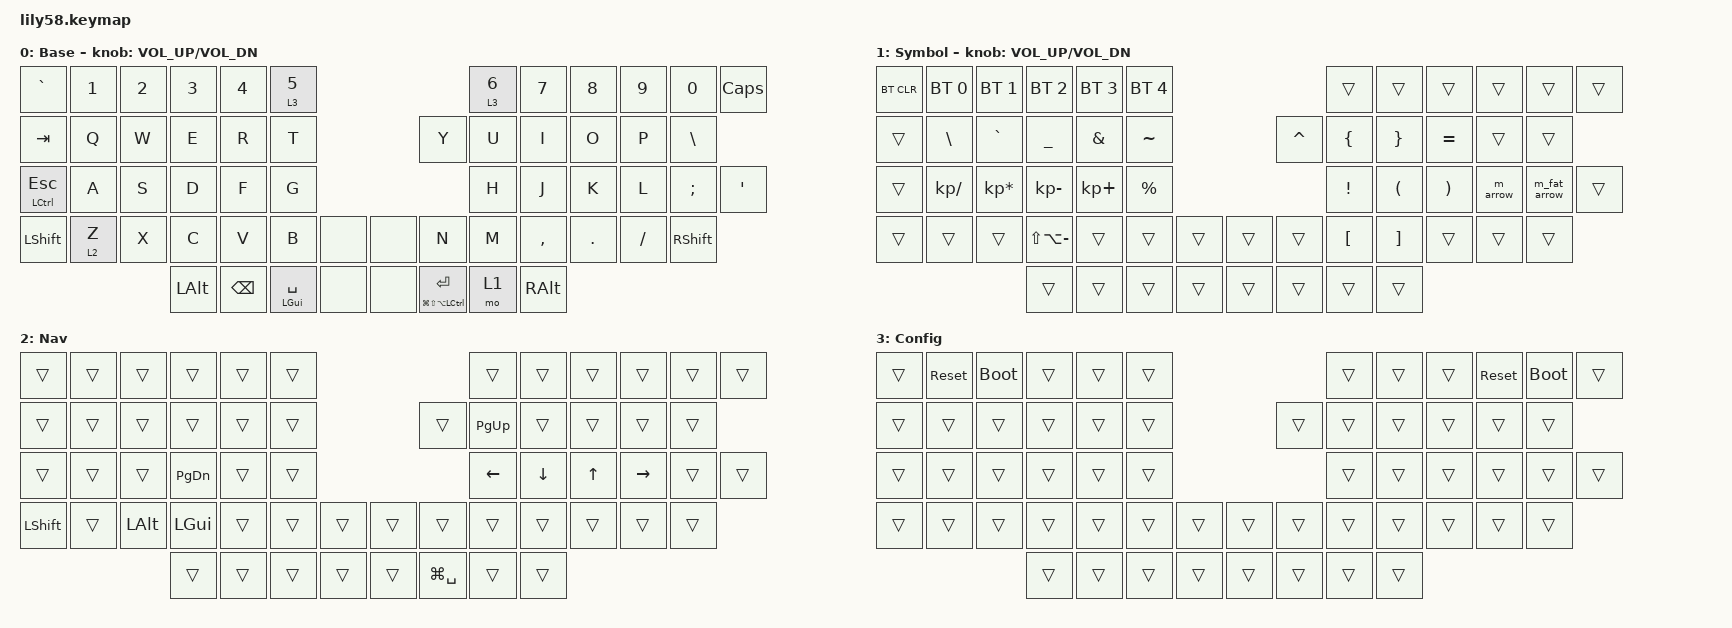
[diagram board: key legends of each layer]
/*
 * Copyright (c) 2020 The ZMK Contributors
 *
 * SPDX-License-Identifier: MIT
 */

#include <behaviors.dtsi>
#include <dt-bindings/zmk/keys.h>
#include <dt-bindings/zmk/bt.h>
#include <dt-bindings/zmk/ext_power.h>

/* Behavior Settings */
&mt {
    // This will make mod-tap behaves the same as QMK's default, which is what I prefer
    flavor = "tap-preferred";
};


/ {
    macros {
        m_arrow: m_arrow {
            label = "ARROW";
            compatible = "zmk,behavior-macro";
            #binding-cells = <0>;
            bindings = <&macro_tap &kp MINUS &kp GT>;
        };

        m_fat_arrow: m_fat_arrow {
            label = "FAT_ARROW";
            compatible = "zmk,behavior-macro";
            #binding-cells = <0>;
            bindings = <&macro_tap &kp EQUAL &kp GT>;
        };
    };

    keymap {
        compatible = "zmk,keymap";

        default_layer {
// ---------------------------------------------------------------------------------------------------
// |   `   |  1  |  2  |   3   |   4   |  LT3/5  |                |  LT3/6  |  7   |  8  |  9  |  0  |  CAPS  |
// |  TAB  |  Q  |  W  |   E   |   R   |    T    |                |    Y    |  U   |  I  |  O  |  P  |   \    |
// |CTL/ESC|  A  |  S  |   D   |   F   |    G    |                |    H    |  J   |  K  |  L  |  ;  |   '    |
// | SHFT  |LT2/Z|  X  |   C   |   V   |    B    |       |        |    N    |  M   |  ,  |  .  |  /  |  SHFT  |
//                     |  ALT  |  BSPC | GUI/SPC |       |        |HYPER/RET| L_SYM| RALT|

            display-name = "Base";
            bindings = <
&kp GRAVE &kp N1 &kp N2 &kp N3   &kp N4   &lt 3 N5                   &lt 3 N6 &kp N7   &kp N8    &kp N9  &kp N0   &kp CAPS
&kp TAB   &kp Q  &kp W  &kp E    &kp R    &kp T                      &kp Y  &kp U    &kp I     &kp O   &kp P    &kp BSLH
&mt LCTRL ESC &kp A  &kp S  &kp D    &kp F    &kp G                      &kp H  &kp J    &kp K     &kp L   &kp SEMI &kp SQT
&kp LSHFT &lt 2 Z  &kp X  &kp C    &kp V    &kp B    &none    &none    &kp N  &kp M    &kp COMMA &kp DOT &kp FSLH &kp RSHFT
                 &kp LALT &kp BSPC &mt LGUI SPACE  &none    &none    &mt LG(LS(LA(LCTRL))) RET  &mo 1  &kp RALT
            >;

            sensor-bindings = <&inc_dec_kp C_VOL_UP C_VOL_DN>;
        };

        symbol_layer {
// ------------------------------------------------------------------------------------------------------------
// | BTCLR | BT1 | BT2 |  BT3 |  BT4 |  BT5 |                   |      |       |       |      |    |     |
// |       |  \  |  `  |   _   |   &   |   ~   |                |   ^   |   {  |   }  |   =  |     |        |
// |       |  /  |  *  |   -   |   +   |   %   |                |   !   |   (  |   )  |  ->  |  => |        |
// |       |     |     |LSA(-) |   V   |   B   |       |        |       |   [  |   ]  |   .  |  /  |  DEL   |
//                     |       |       |       |       |        |       |      |

            display-name = "Symbol";
            bindings = <
&bt BT_CLR &bt BT_SEL 0     &bt BT_SEL 1      &bt BT_SEL 2      &bt BT_SEL 3 &bt BT_SEL 4                 &trans    &trans    &trans          &trans    &trans  &trans
&trans     &kp BSLH         &kp GRAVE         &kp UNDER         &kp AMPS     &kp TILDE                    &kp CARET  &kp LBRC  &kp RBRC  &kp EQUAL   &trans   &trans
&trans     &kp KP_SLASH     &kp KP_MULTIPLY   &kp KP_MINUS      &kp KP_PLUS  &kp PRCNT                    &kp EXCL   &kp LPAR  &kp RPAR  &m_arrow   &m_fat_arrow  &trans
&trans     &trans           &trans            &kp LS(LA(MINUS)) &trans       &trans    &trans   &trans    &trans     &kp LBKT  &kp RBKT  &trans  &trans  &trans
                                              &trans            &trans       &trans    &trans   &trans    &trans    &trans    &trans
            >;

            sensor-bindings = <&inc_dec_kp C_VOL_UP C_VOL_DN>;
        };

        nav_layer {
            // ------------------------------------------------------------------------------------------------------------
            // |       |     |     |       |       |       |                |       |      |      |      |       |        |
            // |       |     |     |       |       |       |                |       | PGUP |      |      |       |        |
            // |       |     |     | PGDN  |       |       |                | LEFT  | DOWN |  UP  | RGHT |       |        |
            // | SHFT  |     | ALT |  GUI  |       |       |       |        |       |      |      |      |       |        |
            //                     |       |       |       |       |        | Search|      |      |
            display-name = "Nav";
            bindings = <
&trans  &trans  &trans  &trans  &trans  &trans                  &trans  &trans  &trans  &trans  &trans  &trans
&trans  &trans  &trans  &trans  &trans  &trans                  &trans  &kp PG_UP  &trans  &trans  &trans  &trans
&trans  &trans  &trans  &kp PG_DN  &trans  &trans                  &kp LEFT   &kp DOWN   &kp UP  &kp RIGHT  &trans  &trans
&kp LSHFT  &trans  &kp LALT  &kp LGUI  &trans  &trans  &trans  &trans  &trans  &trans  &trans  &trans  &trans  &trans
                        &trans  &trans  &trans  &trans  &trans  &kp LG(SPACE)  &trans  &trans
            >;
        };

        config_layer {
            // ------------------------------------------------------------------------------------------------------------
            // |       |RESET| BOOT|       |       |       |                |       |      |      |RESET | BOOT  |        |
            // |       |     |     |       |       |       |                |       |      |      |      |       |        |
            // |       |     |     |       |       |       |                |       |      |      |      |       |        |
            // |       |     |     |       |       |       |       |        |       |      |      |      |       |        |
            //                     |       |       |       |       |        |       |      |
            display-name = "Config";
            bindings = <
&trans  &sys_reset  &bootloader  &trans  &trans  &trans         &trans  &trans  &trans  &sys_reset  &bootloader  &trans
&trans  &trans  &trans  &trans  &trans  &trans                  &trans  &trans  &trans  &trans  &trans  &trans
&trans  &trans  &trans  &trans  &trans  &trans                  &trans  &trans  &trans  &trans  &trans  &trans
&trans  &trans  &trans  &trans  &trans  &trans  &trans  &trans  &trans  &trans  &trans  &trans  &trans  &trans
                        &trans  &trans  &trans  &trans  &trans  &trans  &trans  &trans
            >;
        };

        extra_2 {
            status = "reserved";
        };

        extra_3 {
            status = "reserved";
        };
    };
};
